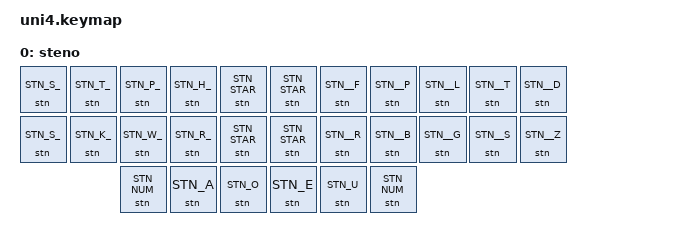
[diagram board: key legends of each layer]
/*
 * Copyright (c) 2020 The ZMK Contributors
 *
 * SPDX-License-Identifier: MIT
 */

#include <behaviors.dtsi>
#include <dt-bindings/zmk/keys.h>
#include <dt-bindings/zmk/bt.h>
#include <dt-bindings/zmk/outputs.h>
#include "../steno/impl/zmk/steno_keys.h"

/ {
    behaviors {
        // My Modtap
        mm: behavior_mod_tap {
            compatible = "zmk,behavior-hold-tap";
            label = "MOD_TAP";
            #binding-cells = <2>;
            flavor = "balanced";
            tapping-term-ms = <150>;
            bindings = <&kp>, <&kp>;
        };
        // My Layertap
        ml: behavior_layer_tap {
            compatible = "zmk,behavior-hold-tap";
            label = "LAYER_TAP";
            #binding-cells = <2>;
            flavor = "hold-preferred";
            tapping-term-ms = <150>;
            bindings = <&mo>, <&kp>;
        };
    };

    keymap0: keymap {
        compatible = "zmk,keymap";
        /* base { */
        /*     bindings = < */
/* &kp N1 &kp Q        &kp W       &kp E        &kp R         &kp T         &kp Y         &kp U         &kp I        &kp O         &kp P       &kp N3 */
/* &kp N2 &kp A        &kp S       &kp D        &kp F         &kp G         &kp H         &kp N         &kp K        &kp L         &kp B       &kp N4 */
        /*                  &mm LGUI DEL &mm LCTRL TAB &ml 0 ESC &ml 0 RET &mm LSHFT SPACE &mm LALT BSPC */
        /*     >; */
        /* }; */
        steno {
            bindings = <
&stn STN_S_  &stn STN_T_ &stn STN_P_  &stn STN_H_   &stn STN_STAR &stn STN_STAR &stn STN__F   &stn STN__P  &stn STN__L   &stn STN__T &stn STN__D
&stn STN_S_  &stn STN_K_ &stn STN_W_  &stn STN_R_   &stn STN_STAR &stn STN_STAR &stn STN__R   &stn STN__B  &stn STN__G   &stn STN__S &stn STN__Z
                         &stn STN_NUM   &stn STN_A    &stn STN_O    &stn STN_E    &stn STN_U    &stn STN_NUM
            >;
        };
    };
};
